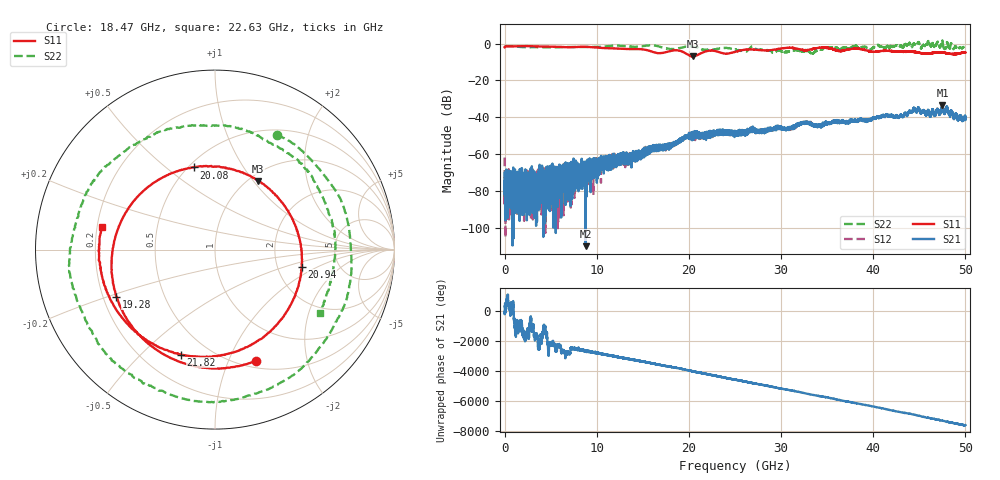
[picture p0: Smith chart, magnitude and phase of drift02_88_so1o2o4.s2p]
!Created with skrf (http://scikit-rf.org).
# Hz S RI R 50.0
!freq ReS11 ImS11 ReS21 ImS21 ReS12 ImS12 ReS22 ImS22
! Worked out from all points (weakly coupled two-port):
!   10001 points, 300 kHz to 50 GHz, reference 50 ohm
!   highest |S21| = -33.48 dB at 47.51 GHz (marker M1); lowest = -110.0 dB at 8.785 GHz (marker M2)
!   lowest |S11| = -6.9 dB at 20.41 GHz (marker M3), VSWR 2.64, Z = 54.9 + j52.7 ohm
!   |S11| at or under -10 dB: nowhere
!   |S22| runs from -5.3 to 1.7 dB; largest |S21 - S12| = 0.0031
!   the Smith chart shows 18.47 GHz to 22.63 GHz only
!   S11 on the Smith chart (normalised r, x): 18.47 GHz: 0.58, -1.26; 19.28 GHz: 0.25, -0.21; 20.08 GHz: 0.53, +0.63; 20.94 GHz: 2.74, -0.69; 21.82 GHz: 0.35, -0.67; 22.63 GHz: 0.22, +0.10
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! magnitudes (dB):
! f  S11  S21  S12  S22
! 300 kHz  -2.0  -70.4  -61.9  -1.3
! 255.3 MHz  -1.4  -77.3  -77.3  -1.4
! 435.3 MHz  -1.4  -69.1  -80.6  -1.4
! 4.35 GHz  -1.6  -72.9  -81.7  -2.0
! 8.335 GHz  -1.7  -70.1  -72.2  -1.9
! 8.785 GHz  -1.7  -110.0  -71.0  -1.9
! 16.67 GHz  -5.2  -55.9  -57.1  -1.4
! 18.47 GHz  -3.6  -54.4  -54.9  -2.8
! 19.28 GHz  -4.3  -51.2  -51.2  -2.1
! 20.08 GHz  -6.5  -50.3  -51.2  -1.5
! 20.41 GHz  -6.9  -49.7  -51.1  -1.7
! 20.94 GHz  -6.2  -49.4  -49.9  -2.2
! 21.82 GHz  -4.2  -49.6  -49.9  -3.5
! 22.63 GHz  -3.8  -49.5  -48.6  -3.3
! 25 GHz  -4.5  -48.3  -49.0  -3.2
! 26.11 GHz  -3.3  -47.5  -47.9  -4.3
! 26.9 GHz  -3.2  -47.5  -45.7  -1.6
! 33.34 GHz  -3.0  -44.1  -43.9  -5.1
! 34.89 GHz  -2.2  -43.6  -43.2  -2.2
! 41.67 GHz  -3.9  -39.3  -39.2  -2.1
! 47.51 GHz  -4.8  -33.5  -33.7  1.7
! 50 GHz  -4.8  -41.2  -40.5  -1.5
